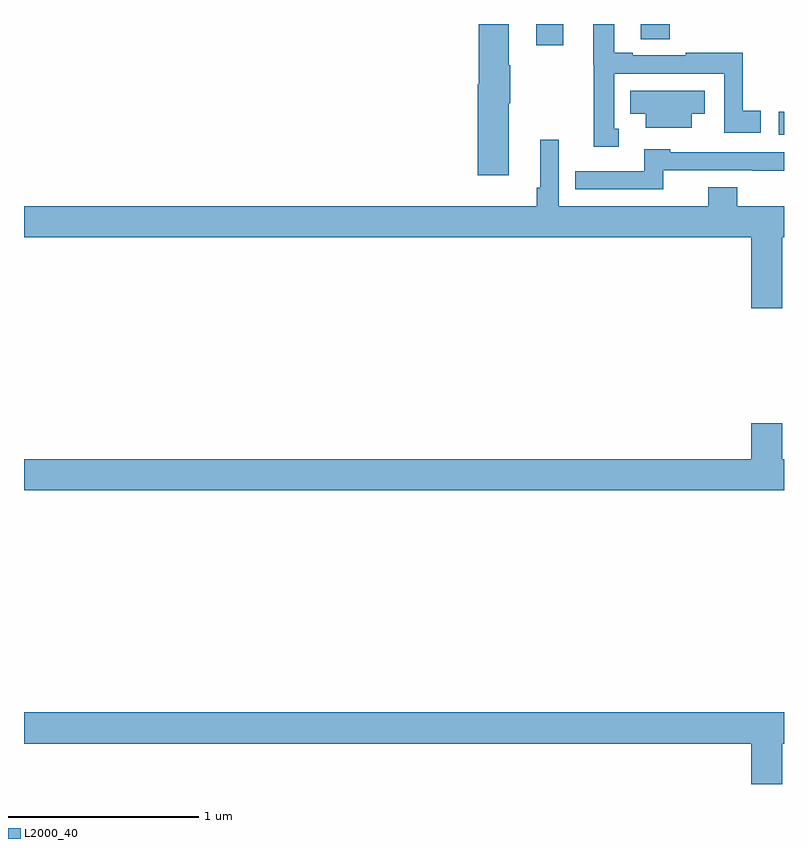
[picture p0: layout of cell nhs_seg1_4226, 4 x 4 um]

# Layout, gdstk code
import gdstk
lib = gdstk.Library(unit=1e-6, precision=1e-09)
def R(c, l, rs):  # rectangles x0, y0, x1, y1
    for r in rs: c.add(gdstk.rectangle(r[:2], r[2:], *l))
def P(c, l, *ps):  # polygons
    for p in ps: c.add(gdstk.Polygon(p, *l))
L2000_40 = (2000, 40)

nhs_seg1_4226 = lib.new_cell('nhs_seg1_4226')
R(nhs_seg1_4226, L2000_40, [(344.973,541.617,345,541.737), (343.697,542.088,343.837,542.199), (344.246,542.119,344.399,542.199)])
P(nhs_seg1_4226, L2000_40, [(344.131,541.647),(344.106,541.647),(344.106,541.938),(344.685,541.938),(344.685,541.626),(344.878,541.626),(344.878,541.742),(344.784,541.742),(344.784,542.047),(344.482,542.047),(344.482,542.034),(344.203,542.034),(344.203,542.047),(344.107,542.047),(344.107,542.199),(343.997,542.199),(343.997,541.985),(343.998,541.985),(343.998,541.553),(344.131,541.553)],
  [(343.552,541.781),(343.56,541.781),(343.56,541.981),(343.552,541.981),(343.552,542.199),(343.394,542.199),(343.394,541.881),(343.388,541.881),(343.388,541.404),(343.552,541.404)],
  [(344.515,541.727),(344.584,541.727),(344.584,541.849),(344.191,541.849),(344.191,541.727),(344.273,541.727),(344.273,541.652),(344.515,541.652)],
  [(344.992,541.076),(345,541.076),(345,541.24),(344.753,541.24),(344.753,541.339),(344.6,541.339),(344.6,541.24),(343.815,541.24),(343.815,541.591),(343.718,541.591),(343.718,541.336),(343.699,541.336),(343.699,541.24),(341,541.24),(341,541.076),(344.828,541.076),(344.828,540.702),(344.992,540.702)],
  [(344.364,541.428),(344.836,541.428),(344.836,541.427),(345,541.427),(345,541.524),(344.4,541.524),(344.4,541.54),(344.264,541.54),(344.264,541.425),(343.9,541.425),(343.9,541.329),(344.364,541.329)],
  [(345,539.908),(344.992,539.908),(344.992,540.097),(344.828,540.097),(344.828,539.908),(341,539.908),(341,539.744),(345,539.744)],
  [(344.992,538.412),(345,538.412),(345,538.576),(341,538.576),(341,538.412),(344.828,538.412),(344.828,538.199),(344.992,538.199)])

lib.write_gds('nhs_seg1_4226.gds')
